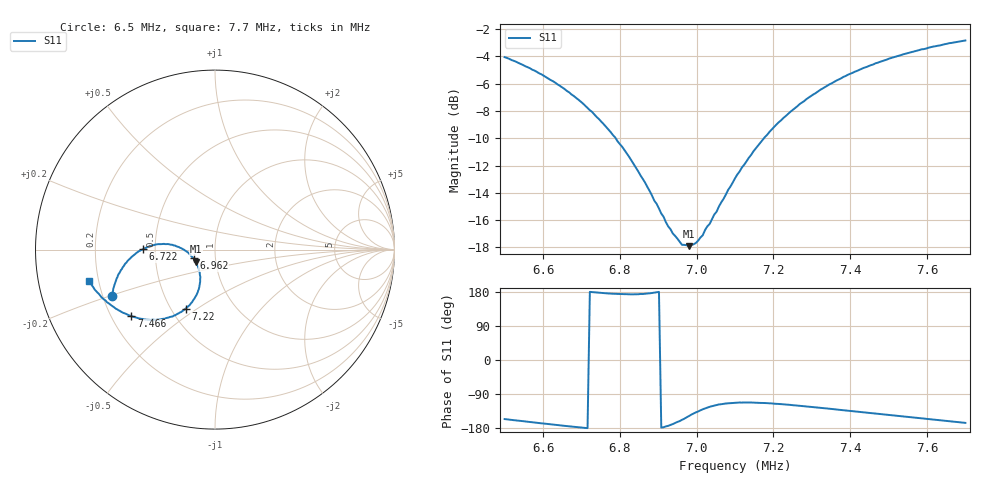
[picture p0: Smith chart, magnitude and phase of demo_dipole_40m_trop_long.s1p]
! Dipole 40 m trop long (resonance ~6.98 MHz), 20 m de RG213
! Fichier de demonstration simule - Analyseur ROS NanoVNA F4CVQ
# HZ S RI R 50
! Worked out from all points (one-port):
!   201 points, 6.5 MHz to 7.7 MHz, reference 50 ohm
!   lowest |S11| = -17.9 dB at 6.98 MHz (marker M1), VSWR 1.29, Z = 39.9 - j5.47 ohm
!   |S11| at or under -10 dB: 6.789 MHz to 7.175 MHz (385.7 kHz wide, 5.52 % of centre)
!   S11 on the Smith chart (normalised r, x): 6.5 MHz: 0.24, -0.20; 6.722 MHz: 0.43, +0.00; 6.962 MHz: 0.78, -0.08; 7.22 MHz: 0.59, -0.45; 7.466 MHz: 0.28, -0.32; 7.7 MHz: 0.16, -0.12
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6500000  -0.5727 -0.2564
6578000  -0.5411 -0.1447
6650000  -0.4824 -0.0583
6692000  -0.4381 -0.0186
6722000  -0.4009 0.00188
6764000  -0.348 0.0241
6800000  -0.2998 0.0304
6824000  -0.2692 0.0309
6860000  -0.2232 0.0229
6926000  -0.1495 -0.0164
6950000  -0.13 -0.0388
6962000  -0.1192 -0.0487
6980000  -0.108 -0.0675
6998000  -0.0975 -0.0872
7016000  -0.0899 -0.1068
7058000  -0.0818 -0.1579
7100000  -0.0871 -0.2082
7154000  -0.1122 -0.268
7190000  -0.1376 -0.3045
7220000  -0.1639 -0.3297
7250000  -0.196 -0.3503
7286000  -0.2355 -0.3721
7322000  -0.2798 -0.3853
7400000  -0.3806 -0.3905
7466000  -0.4659 -0.3713
7550000  -0.5645 -0.3198
7616000  -0.6326 -0.2651
7700000  -0.7007 -0.1755
